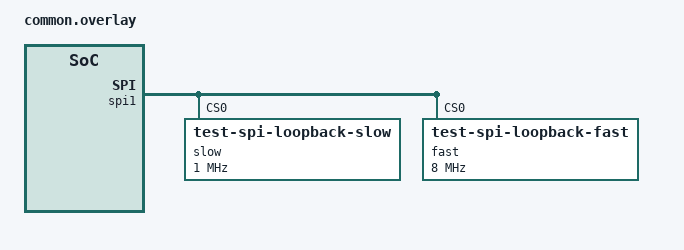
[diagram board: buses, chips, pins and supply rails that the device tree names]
/*
 * Copyright (c) 2025-2026 Atmosic
 *
 * SPDX-License-Identifier: LicenseRef-Atmosic
 */

&spi1 {
	status = "okay";
	slow@0 {
		compatible = "test-spi-loopback-slow";
		reg = <0>;
		spi-max-frequency = <1000000>;
	};
	fast@0 {
		compatible = "test-spi-loopback-fast";
		reg = <0>;
		spi-max-frequency = <8000000>;
	};
};
